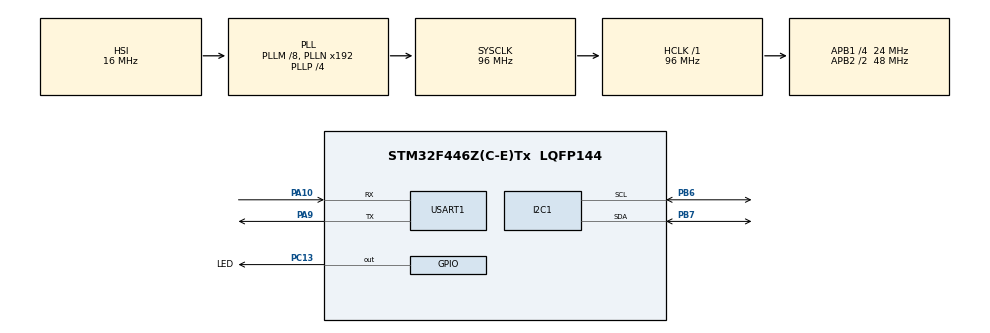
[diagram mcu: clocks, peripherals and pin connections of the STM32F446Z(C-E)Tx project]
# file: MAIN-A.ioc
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Mcu.Family=STM32F4
Mcu.Name=STM32F446Z(C-E)Tx
Mcu.Package=LQFP144
NVIC.PriorityGroup=NVIC_PRIORITYGROUP_4
PA10.Mode=Asynchronous
PA10.Signal=USART1_RX
PA13.Mode=Serial_Wire
PA13.Signal=SYS_JTMS-SWDIO
PA14.Mode=Serial_Wire
PA14.Signal=SYS_JTCK-SWCLK
PA9.Mode=Asynchronous
PA9.Signal=USART1_TX
PB6.Mode=I2C
PB6.Signal=I2C1_SCL
PB7.Mode=I2C
PB7.Signal=I2C1_SDA
PC10.Signal=UART4_TX
PC11.Signal=UART4_RX
PC13.GPIO_Label=LED
PC13.Signal=GPIO_Output
ProjectManager.HeapSize=0x200
ProjectManager.StackSize=0x400
ProjectManager.TargetToolchain=STM32CubeIDE
RCC.AHBFreq_Value=96000000
RCC.APB1CLKDivider=RCC_HCLK_DIV4
RCC.APB1Freq_Value=24000000
RCC.APB1TimFreq_Value=48000000
RCC.APB2CLKDivider=RCC_HCLK_DIV2
RCC.APB2Freq_Value=48000000
RCC.APB2TimFreq_Value=96000000
RCC.CortexFreq_Value=96000000
RCC.HCLKFreq_Value=96000000
RCC.PLLM=8
RCC.PLLP=RCC_PLLP_DIV4
RCC.SYSCLKFreq_VALUE=96000000
RCC.SYSCLKSource=RCC_SYSCLKSOURCE_PLLCLK
RCC.USBFreq_Value=192000000
RCC.VCOOutputFreq_Value=384000000
USART1.VirtualMode=VM_ASYNC
board=custom

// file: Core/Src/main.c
/* USER CODE BEGIN Header */
/**
  ******************************************************************************
  * @file           : main.c
  * @brief          : Main program body
  ******************************************************************************
  * @attention
  *
  * Copyright (c) 2023 STMicroelectronics.
  * All rights reserved.
  *
  * This software is licensed under terms that can be found in the LICENSE file
  * in the root directory of this software component.
  * If no LICENSE file comes with this software, it is provided AS-IS.
  *
  ******************************************************************************
  */
/* USER CODE END Header */
#include "main.h"

/* USER CODE BEGIN Includes */
#include "string.h"
#include "stdio.h"
/* USER CODE END Includes */

I2C_HandleTypeDef hi2c1;

UART_HandleTypeDef huart1;

/* USER CODE BEGIN PV */
char strReceived[128] = "";

uint8_t ADDRESS_MAIN = 90;
uint8_t ADDRESS_REDUNDANT = 92;
uint8_t ADDRESS_TTC = 94;

uint8_t buffer[8]= {0};
uint8_t i2cTxBuf[8]= {0};
uint8_t i2cRxBuf[8]= {0};

uint8_t REDUNDANT_TAKEOVER[8] = {125, 4, 1, 0, 0, 0, 0, 0};
uint8_t TTC_READTEMP[8] = {125, 3, 3, 0, 0, 0, 0, 0};

/* USER CODE END PV */

void SystemClock_Config(void);
static void MX_GPIO_Init(void);
static void MX_I2C1_Init(void);
static void MX_USART1_UART_Init(void);

/* USER CODE BEGIN 0 */
void serialPrint(char *string){
	uint8_t len = strlen(string);
	HAL_UART_Transmit(&huart1, (uint8_t *)string, len, 2000);
}

void serialPrintBuffer(){
	for(int i = 0; i<sizeof(buffer); i++){
		sprintf(&strReceived[i], "%d, ", buffer[i]);
	}
	serialPrint(strReceived);
	serialPrint("\r\n");
}

void blink(int delayOn, int delayOff){
	HAL_GPIO_WritePin(LED_GPIO_Port, LED_Pin, GPIO_PIN_SET);
	serialPrint("LED OFF\n\r");
	HAL_Delay(delayOff);

	HAL_GPIO_WritePin(LED_GPIO_Port, LED_Pin, GPIO_PIN_RESET);
	serialPrint("LED ON\n\r");
	HAL_Delay(delayOn);

	HAL_GPIO_WritePin(LED_GPIO_Port, LED_Pin, GPIO_PIN_SET);
	serialPrint("LED OFF\n\r");
	HAL_Delay(delayOff);
}
/* USER CODE END 0 */

int main(void)
{

  /* MCU Configuration--------------------------------------------------------*/

  /* Reset of all peripherals, Initializes the Flash interface and the Systick. */
  HAL_Init();

  /* Configure the system clock */
  SystemClock_Config();

  /* Initialize all configured peripherals */
  MX_GPIO_Init();
  MX_I2C1_Init();
  MX_USART1_UART_Init();

  /* Infinite loop */
  while (1)
  {

    /* USER CODE BEGIN 3 */
	serialPrint("Sending Data to Redundant ... ");
	if(HAL_I2C_Master_Transmit(&hi2c1, ADDRESS_REDUNDANT, REDUNDANT_TAKEOVER, sizeof(REDUNDANT_TAKEOVER), 1000) == HAL_OK){
		serialPrint("Sent Successfully\r\n");
	} else {
		serialPrint("Sent Failed\r\n");
	}
  }
  /* USER CODE END 3 */
}

void SystemClock_Config(void)
{
  RCC_OscInitTypeDef RCC_OscInitStruct = {0};
  RCC_ClkInitTypeDef RCC_ClkInitStruct = {0};

  /** Configure the main internal regulator output voltage
  */
  __HAL_RCC_PWR_CLK_ENABLE();
  __HAL_PWR_VOLTAGESCALING_CONFIG(PWR_REGULATOR_VOLTAGE_SCALE3);

  /** Initializes the RCC Oscillators according to the specified parameters
  * in the RCC_OscInitTypeDef structure.
  */
  RCC_OscInitStruct.OscillatorType = RCC_OSCILLATORTYPE_HSI;
  RCC_OscInitStruct.HSIState = RCC_HSI_ON;
  RCC_OscInitStruct.HSICalibrationValue = RCC_HSICALIBRATION_DEFAULT;
  RCC_OscInitStruct.PLL.PLLState = RCC_PLL_ON;
  RCC_OscInitStruct.PLL.PLLSource = RCC_PLLSOURCE_HSI;
  RCC_OscInitStruct.PLL.PLLM = 8;
  RCC_OscInitStruct.PLL.PLLN = 192;
  RCC_OscInitStruct.PLL.PLLP = RCC_PLLP_DIV4;
  RCC_OscInitStruct.PLL.PLLQ = 2;
  RCC_OscInitStruct.PLL.PLLR = 2;
  if (HAL_RCC_OscConfig(&RCC_OscInitStruct) != HAL_OK)
  {
    Error_Handler();
  }

  /** Initializes the CPU, AHB and APB buses clocks
  */
  RCC_ClkInitStruct.ClockType = RCC_CLOCKTYPE_HCLK|RCC_CLOCKTYPE_SYSCLK
                              |RCC_CLOCKTYPE_PCLK1|RCC_CLOCKTYPE_PCLK2;
  RCC_ClkInitStruct.SYSCLKSource = RCC_SYSCLKSOURCE_PLLCLK;
  RCC_ClkInitStruct.AHBCLKDivider = RCC_SYSCLK_DIV1;
  RCC_ClkInitStruct.APB1CLKDivider = RCC_HCLK_DIV4;
  RCC_ClkInitStruct.APB2CLKDivider = RCC_HCLK_DIV2;

  if (HAL_RCC_ClockConfig(&RCC_ClkInitStruct, FLASH_LATENCY_3) != HAL_OK)
  {
    Error_Handler();
  }
}

static void MX_I2C1_Init(void)
{

  hi2c1.Instance = I2C1;
  hi2c1.Init.ClockSpeed = 100000;
  hi2c1.Init.DutyCycle = I2C_DUTYCYCLE_2;
  hi2c1.Init.OwnAddress1 = ADDRESS_MAIN;
  hi2c1.Init.AddressingMode = I2C_ADDRESSINGMODE_7BIT;
  hi2c1.Init.DualAddressMode = I2C_DUALADDRESS_DISABLE;
  hi2c1.Init.OwnAddress2 = 0;
  hi2c1.Init.GeneralCallMode = I2C_GENERALCALL_DISABLE;
  hi2c1.Init.NoStretchMode = I2C_NOSTRETCH_DISABLE;
  if (HAL_I2C_Init(&hi2c1) != HAL_OK)
  {
    Error_Handler();
  }

}

static void MX_USART1_UART_Init(void)
{

  huart1.Instance = USART1;
  huart1.Init.BaudRate = 115200;
  huart1.Init.WordLength = UART_WORDLENGTH_8B;
  huart1.Init.StopBits = UART_STOPBITS_1;
  huart1.Init.Parity = UART_PARITY_NONE;
  huart1.Init.Mode = UART_MODE_TX_RX;
  huart1.Init.HwFlowCtl = UART_HWCONTROL_NONE;
  huart1.Init.OverSampling = UART_OVERSAMPLING_16;
  if (HAL_UART_Init(&huart1) != HAL_OK)
  {
    Error_Handler();
  }

}

static void MX_GPIO_Init(void)
{
  GPIO_InitTypeDef GPIO_InitStruct = {0};

  /* GPIO Ports Clock Enable */
  __HAL_RCC_GPIOC_CLK_ENABLE();
  __HAL_RCC_GPIOA_CLK_ENABLE();
  __HAL_RCC_GPIOB_CLK_ENABLE();

  /*Configure GPIO pin Output Level */
  HAL_GPIO_WritePin(LED_GPIO_Port, LED_Pin, GPIO_PIN_RESET);

  /*Configure GPIO pin : LED_Pin */
  GPIO_InitStruct.Pin = LED_Pin;
  GPIO_InitStruct.Mode = GPIO_MODE_OUTPUT_PP;
  GPIO_InitStruct.Pull = GPIO_NOPULL;
  GPIO_InitStruct.Speed = GPIO_SPEED_FREQ_LOW;
  HAL_GPIO_Init(LED_GPIO_Port, &GPIO_InitStruct);

  /*Configure GPIO pins : PC10 PC11 */
  GPIO_InitStruct.Pin = GPIO_PIN_10|GPIO_PIN_11;
  GPIO_InitStruct.Mode = GPIO_MODE_AF_PP;
  GPIO_InitStruct.Pull = GPIO_NOPULL;
  GPIO_InitStruct.Speed = GPIO_SPEED_FREQ_VERY_HIGH;
  GPIO_InitStruct.Alternate = GPIO_AF8_UART4;
  HAL_GPIO_Init(GPIOC, &GPIO_InitStruct);

}

void Error_Handler(void)
{
  __disable_irq();
  while (1)
  {
  }
}
